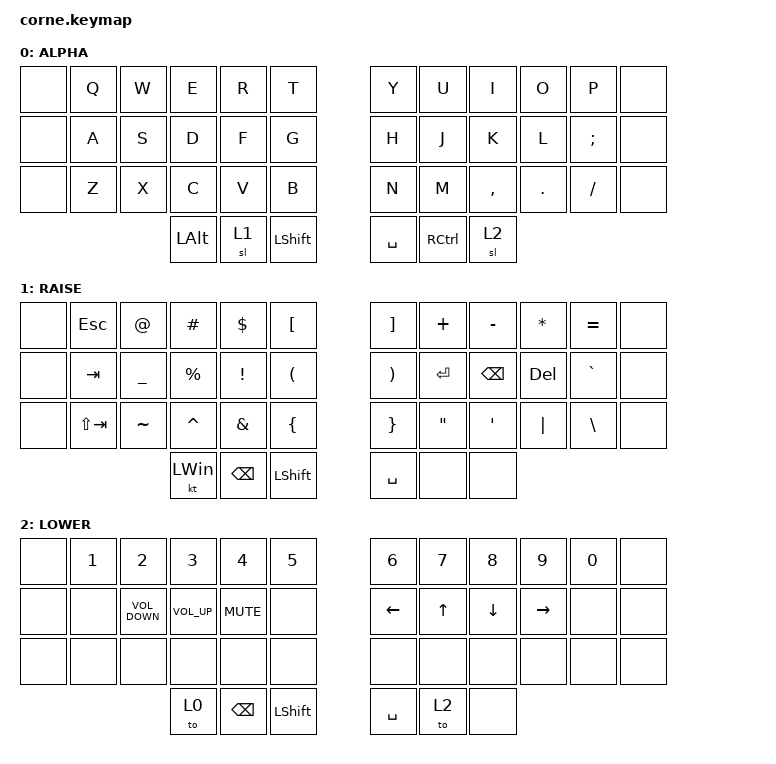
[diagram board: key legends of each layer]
#include <behaviors.dtsi>
#include <dt-bindings/zmk/keys.h>
#include <dt-bindings/zmk/keys.h>

#define L0 0
#define L1 1
#define L2 2
#define L3 3
#define KEYS_L 0 1 2 3 4 5 12 13 14 15 16 17 24 25 26 27 28 29 36 37 38
#define KEYS_R 6 7 8 9 10 11 18 19 20 21 22 23 30 31 32 33 34 35 39 40 41

/ {
    behaviors {
        /**
     * Left hand positional hold tap, used for home block modifiers
     */

        lhr: left_hand_positional_hold_tap {
            compatible = "zmk,behavior-hold-tap";
            label = "LEFT_POSITIONAL_HOLD_TAP";
            #binding-cells = <2>;
            flavor = "balanced";
            tapping-term-ms = <300>;
            quick-tap-ms = <200>;
            global-quick-tap;
            bindings = <&kp>, <&kp>;

            hold-trigger-key-positions = <KEYS_R>;
            hold-trigger-on-release;
        };

        /**
     * Right hand positional hold tap, used for home block modifiers
     */

        rhr: right_hand_positional_hold_tap {
            compatible = "zmk,behavior-hold-tap";
            label = "RIGHT_POSITIONAL_HOLD_TAP";
            #binding-cells = <2>;
            flavor = "balanced";
            tapping-term-ms = <300>;
            quick-tap-ms = <200>;
            global-quick-tap;
            bindings = <&kp>, <&kp>;

            hold-trigger-key-positions = <KEYS_L>;
            hold-trigger-on-release;
        };
    };

    keymap {
        compatible = "zmk,keymap";

        /**
     * Alpha layer (L0)
     */

        layer_0 {
            label = "ALPHA";
            bindings = <
&none  &kp Q  &kp W  &kp E         &kp R  &kp T        &kp Y      &kp U      &kp I      &kp O    &kp P      &none
&none  &kp A  &kp S  &kp D         &kp F  &kp G        &kp H      &kp J      &kp K      &kp L    &kp SEMI   &none
&none  &kp Z  &kp X  &kp C         &kp V  &kp B        &kp N      &kp M      &kp COMMA  &kp DOT  &kp SLASH  &none
                     &kp LEFT_ALT  &sl 1  &kp LSHFT    &kp SPACE  &kp RCTRL  &sl 2
            >;
        };

        /**
     * Symbols layer (L1)
     */

        layer_1 {
            label = "RAISE";
            bindings = <
&none  &kp ESC      &kp AT     &kp HASH     &kp DOLLAR       &kp LBKT     &kp RBKT   &kp PLUS           &kp MINUS      &kp ASTRK   &kp EQUAL  &none
&none  &kp TAB      &kp UNDER  &kp PERCENT  &kp EXCLAMATION  &kp LPAR     &kp RPAR   &kp ENTER          &kp BACKSPACE  &kp DELETE  &kp GRAVE  &none
&none  &kp LS(TAB)  &kp TILDE  &kp CARET    &kp AMPERSAND    &kp LBRC     &kp RBRC   &kp DOUBLE_QUOTES  &kp SQT        &kp PIPE    &kp BSLH   &none
                               &kt LWIN     &kp BSPC         &kp LSHFT    &kp SPACE  &none              &none
            >;
        };

        /**
     * Number and directions layer (L2)
     */

        layer_2 {
            label = "LOWER";
            bindings = <
&none  &kp NUMBER_1  &kp NUMBER_2       &kp NUMBER_3     &kp NUMBER_4  &kp N5       &kp NUMBER_6  &kp N7        &kp N8          &kp N9     &kp N0  &none
&none  &none         &kp C_VOLUME_DOWN  &kp C_VOLUME_UP  &kp C_MUTE    &none        &kp LEFT      &kp UP_ARROW  &kp DOWN_ARROW  &kp RIGHT  &none   &none
&none  &none         &none              &none            &none         &none        &none         &none         &none           &none      &none   &none
                                        &to 0            &kp BSPC      &kp LSHFT    &kp SPACE     &to 2         &none
            >;
        };

        /**
     * Controls layer that contains OS controls (bluetooth, mute, play, etc.) (L3)
     */
    };
};
